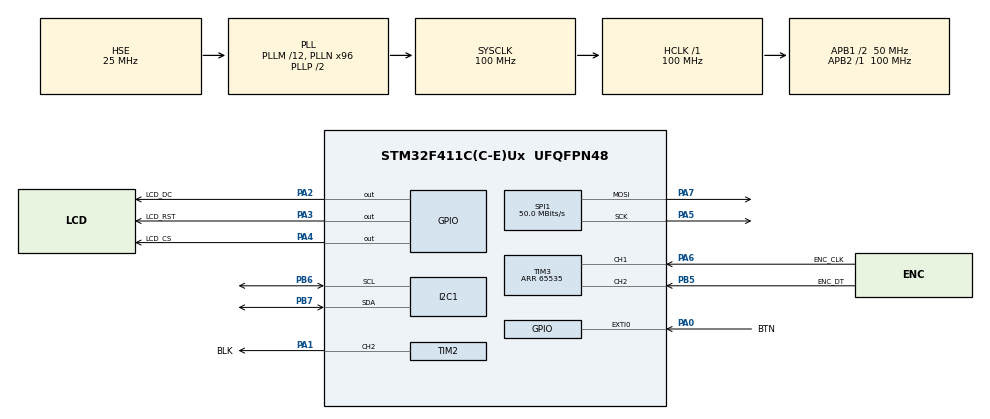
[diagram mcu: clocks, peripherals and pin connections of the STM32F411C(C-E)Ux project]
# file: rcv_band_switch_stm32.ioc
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Mcu.Family=STM32F4
Mcu.Name=STM32F411C(C-E)Ux
Mcu.Package=UFQFPN48
NVIC.EXTI0_IRQn=true\:0\:0\:false\:false\:true\:true\:true\:true
NVIC.PriorityGroup=NVIC_PRIORITYGROUP_4
NVIC.TIM2_IRQn=true\:0\:0\:false\:false\:true\:true\:true\:true
NVIC.TIM3_IRQn=true\:0\:0\:false\:false\:true\:true\:true\:true
PA0-WKUP.GPIO_Label=BTN
PA0-WKUP.GPIO_PuPd=GPIO_PULLDOWN
PA0-WKUP.Signal=GPXTI0
PA1.GPIO_Label=BLK
PA1.GPIO_Speed=GPIO_SPEED_FREQ_VERY_HIGH
PA1.Signal=S_TIM2_CH2
PA13.Mode=Serial_Wire
PA13.Signal=SYS_JTMS-SWDIO
PA14.Mode=Serial_Wire
PA14.Signal=SYS_JTCK-SWCLK
PA2.GPIO_Label=LCD_DC
PA2.GPIO_Speed=GPIO_SPEED_FREQ_VERY_HIGH
PA2.Signal=GPIO_Output
PA3.GPIO_Label=LCD_RST
PA3.GPIO_Speed=GPIO_SPEED_FREQ_VERY_HIGH
PA3.Signal=GPIO_Output
PA4.GPIO_Label=LCD_CS
PA4.GPIO_Speed=GPIO_SPEED_FREQ_VERY_HIGH
PA4.Signal=GPIO_Output
PA5.Mode=TX_Only_Simplex_Unidirect_Master
PA5.Signal=SPI1_SCK
PA6.GPIO_Label=ENC_CLK
PA6.GPIO_PuPd=GPIO_PULLUP
PA6.GPIO_Speed=GPIO_SPEED_FREQ_VERY_HIGH
PA6.Signal=S_TIM3_CH1
PA7.Mode=TX_Only_Simplex_Unidirect_Master
PA7.Signal=SPI1_MOSI
PB5.GPIO_Label=ENC_DT
PB5.GPIO_PuPd=GPIO_PULLUP
PB5.GPIO_Speed=GPIO_SPEED_FREQ_VERY_HIGH
PB5.Signal=S_TIM3_CH2
PB6.Mode=I2C
PB6.Signal=I2C1_SCL
PB7.Mode=I2C
PB7.Signal=I2C1_SDA
PC14-OSC32_IN.Mode=LSE-External-Oscillator
PC14-OSC32_IN.Signal=RCC_OSC32_IN
PC15-OSC32_OUT.Mode=LSE-External-Oscillator
PC15-OSC32_OUT.Signal=RCC_OSC32_OUT
PH0\ -\ OSC_IN.Mode=HSE-External-Oscillator
PH0\ -\ OSC_IN.Signal=RCC_OSC_IN
PH1\ -\ OSC_OUT.Mode=HSE-External-Oscillator
PH1\ -\ OSC_OUT.Signal=RCC_OSC_OUT
ProjectManager.HeapSize=0x200
ProjectManager.StackSize=0x400
ProjectManager.TargetToolchain=STM32CubeIDE
RCC.48MHZClocksFreq_Value=50000000
RCC.AHBFreq_Value=100000000
RCC.APB1CLKDivider=RCC_HCLK_DIV2
RCC.APB1Freq_Value=50000000
RCC.APB1TimFreq_Value=100000000
RCC.APB2Freq_Value=100000000
RCC.APB2TimFreq_Value=100000000
RCC.CortexFreq_Value=100000000
RCC.HCLKFreq_Value=100000000
RCC.HSE_VALUE=25000000
RCC.HSI_VALUE=16000000
RCC.PLLM=12
RCC.PLLN=96
RCC.PLLSourceVirtual=RCC_PLLSOURCE_HSE
RCC.SYSCLKFreq_VALUE=100000000
RCC.SYSCLKSource=RCC_SYSCLKSOURCE_PLLCLK
RCC.VCOOutputFreq_Value=200000000
SH.S_TIM2_CH2.0=TIM2_CH2,PWM Generation2 CH2
SH.S_TIM3_CH1.0=TIM3_CH1,Encoder_Interface
SH.S_TIM3_CH2.0=TIM3_CH2,Encoder_Interface
SPI1.BaudRatePrescaler=SPI_BAUDRATEPRESCALER_2
SPI1.CalculateBaudRate=50.0 MBits/s
SPI1.Direction=SPI_DIRECTION_2LINES
SPI1.Mode=SPI_MODE_MASTER
SPI1.VirtualType=VM_MASTER
TIM2.AutoReloadPreload=TIM_AUTORELOAD_PRELOAD_ENABLE
TIM2.Channel-PWM\ Generation2\ CH2=TIM_CHANNEL_2
TIM2.OCFastMode_PWM-PWM\ Generation2\ CH2=TIM_OCFAST_ENABLE
TIM2.OCMode_PWM-PWM\ Generation2\ CH2=TIM_OCMODE_PWM2
TIM2.Period=5000
TIM2.Prescaler=719
TIM2.TIM_MasterOutputTrigger=TIM_TRGO_ENABLE
TIM3.EncoderMode=TIM_ENCODERMODE_TI1
TIM3.IC1Filter=6
TIM3.IC2Filter=6
TIM3.Period=65535
TIM3.TIM_MasterOutputTrigger=TIM_TRGO_RESET
board=custom

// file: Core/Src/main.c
/* USER CODE BEGIN Header */
/**
  ******************************************************************************
  * @file           : main.c
  * @brief          : Main program body
  ******************************************************************************
  * @attention
  *
  * Copyright (c) 2022 STMicroelectronics.
  * All rights reserved.
  *
  * This software is licensed under terms that can be found in the LICENSE file
  * in the root directory of this software component.
  * If no LICENSE file comes with this software, it is provided AS-IS.
  *
  ******************************************************************************
  */
/* USER CODE END Header */
#include "main.h"
#include "i2c.h"
#include "spi.h"
#include "tim.h"
#include "gpio.h"

/* USER CODE BEGIN Includes */
#include <string.h>
#include "st7735.h"
#include "fonts.h"
#include "testimg.h"
/* USER CODE END Includes */

/* USER CODE BEGIN PV */
extern volatile uint8_t buttonPressed[5];
int32_t prevCounter = 0;
/* USER CODE END PV */

void SystemClock_Config(void);
/* USER CODE BEGIN PFP */
static void setPWM(TIM_HandleTypeDef, uint32_t, uint16_t, uint16_t);
/* USER CODE END PFP */

/* USER CODE BEGIN 0 */
void display_init() {
    ST7735_Init();
    // Check border
    ST7735_FillScreen(ST7735_BLACK);
    //const char ready[] = "Ready!\r\n";
    //HAL_UART_Transmit(&huart2, (uint8_t*)ready, sizeof(ready)-1, HAL_MAX_DELAY);
    ST7735_WriteString(1, 25, "88 - 108 MHz", Font_11x18, ST7735_COLOR565(0, 116, 199), ST7735_BLACK);
    ST7735_WriteString(1, 0, "FM1", Font_16x26, ST7735_COLOR565(255, 187, 51), ST7735_BLACK);
    HAL_Delay(2000);
    for(int i=0; i<256; i++){
    	setPWM(htim2, TIM_CHANNEL_1, 255, i);
    HAL_Delay(10);
    }
}

void loop() {

    // Check fonts
    //ST7735_FillScreen(ST7735_BLACK);
    //ST7735_WriteString(0, 0, "Font_7x10", Font_7x10, ST7735_RED, ST7735_BLACK);

	int currCounter = __HAL_TIM_GET_COUNTER(&htim3);
	currCounter = 32767 - ((currCounter-1) & 0xFFFF) / 2;
	if(currCounter != prevCounter) {
		char buff[16];
		snprintf(buff, sizeof(buff), "%06d", currCounter);
		ST7735_WriteString(0, 46*1, buff, Font_7x10, ST7735_GREEN, ST7735_BLACK);
		prevCounter = currCounter;
	}
	uint8_t buttonNumber = 0;
	while(buttonNumber < sizeof(buttonPressed)/sizeof(buttonPressed[0])) {
		if(buttonPressed[buttonNumber]) {
			buttonPressed[buttonNumber] = 0;
			char buff[16];
			snprintf(buff, sizeof(buff), "BUTTON %d", buttonNumber);
			ST7735_WriteString(80, 46*1, buff, Font_7x10, ST7735_RED, ST7735_BLACK);
		}
		buttonNumber++;
	}
    HAL_Delay(100);
}

/* USER CODE END 0 */

int main(void)
{

  /* MCU Configuration--------------------------------------------------------*/

  /* Reset of all peripherals, Initializes the Flash interface and the Systick. */
  HAL_Init();

  /* Configure the system clock */
  SystemClock_Config();

  /* Initialize all configured peripherals */
  MX_GPIO_Init();
  MX_I2C1_Init();
  MX_SPI1_Init();
  MX_TIM3_Init();
  MX_TIM2_Init();
  /* USER CODE BEGIN 2 */
  HAL_TIM_Encoder_Start(&htim3, TIM_CHANNEL_ALL);
  HAL_TIM_PWM_Start(&htim2, TIM_CHANNEL_2);
  /* USER CODE END 2 */

  /* Infinite loop */
  /* USER CODE BEGIN WHILE */
  display_init();

  while (1)
  {
	 loop();

    /* USER CODE END WHILE */

  }
}

void SystemClock_Config(void)
{
  RCC_OscInitTypeDef RCC_OscInitStruct = {0};
  RCC_ClkInitTypeDef RCC_ClkInitStruct = {0};

  /** Configure the main internal regulator output voltage
  */
  __HAL_RCC_PWR_CLK_ENABLE();
  __HAL_PWR_VOLTAGESCALING_CONFIG(PWR_REGULATOR_VOLTAGE_SCALE1);

  /** Initializes the RCC Oscillators according to the specified parameters
  * in the RCC_OscInitTypeDef structure.
  */
  RCC_OscInitStruct.OscillatorType = RCC_OSCILLATORTYPE_HSE;
  RCC_OscInitStruct.HSEState = RCC_HSE_ON;
  RCC_OscInitStruct.PLL.PLLState = RCC_PLL_ON;
  RCC_OscInitStruct.PLL.PLLSource = RCC_PLLSOURCE_HSE;
  RCC_OscInitStruct.PLL.PLLM = 12;
  RCC_OscInitStruct.PLL.PLLN = 96;
  RCC_OscInitStruct.PLL.PLLP = RCC_PLLP_DIV2;
  RCC_OscInitStruct.PLL.PLLQ = 4;
  if (HAL_RCC_OscConfig(&RCC_OscInitStruct) != HAL_OK)
  {
    Error_Handler();
  }

  /** Initializes the CPU, AHB and APB buses clocks
  */
  RCC_ClkInitStruct.ClockType = RCC_CLOCKTYPE_HCLK|RCC_CLOCKTYPE_SYSCLK
                              |RCC_CLOCKTYPE_PCLK1|RCC_CLOCKTYPE_PCLK2;
  RCC_ClkInitStruct.SYSCLKSource = RCC_SYSCLKSOURCE_PLLCLK;
  RCC_ClkInitStruct.AHBCLKDivider = RCC_SYSCLK_DIV1;
  RCC_ClkInitStruct.APB1CLKDivider = RCC_HCLK_DIV2;
  RCC_ClkInitStruct.APB2CLKDivider = RCC_HCLK_DIV1;

  if (HAL_RCC_ClockConfig(&RCC_ClkInitStruct, FLASH_LATENCY_3) != HAL_OK)
  {
    Error_Handler();
  }
}

/* USER CODE BEGIN 4 */
void setPWM(TIM_HandleTypeDef timer, uint32_t channel, uint16_t period, uint16_t pulse)
{
	HAL_TIM_PWM_Stop(&timer, channel); // stop generation of pwm
	TIM_OC_InitTypeDef sConfigOC;
	timer.Init.Period = period; // set the period duration
	HAL_TIM_PWM_Init(&timer); // reinititialise with new period value
	sConfigOC.OCMode = TIM_OCMODE_PWM1;
	sConfigOC.Pulse = pulse; // set the pulse duration
	sConfigOC.OCPolarity = TIM_OCPOLARITY_HIGH;
	sConfigOC.OCFastMode = TIM_OCFAST_DISABLE;
	HAL_TIM_PWM_ConfigChannel(&timer, &sConfigOC, channel);
	HAL_TIM_PWM_Start(&timer, channel);
}
/* USER CODE END 4 */

void Error_Handler(void)
{
  __disable_irq();
  while (1)
  {
  }
}
